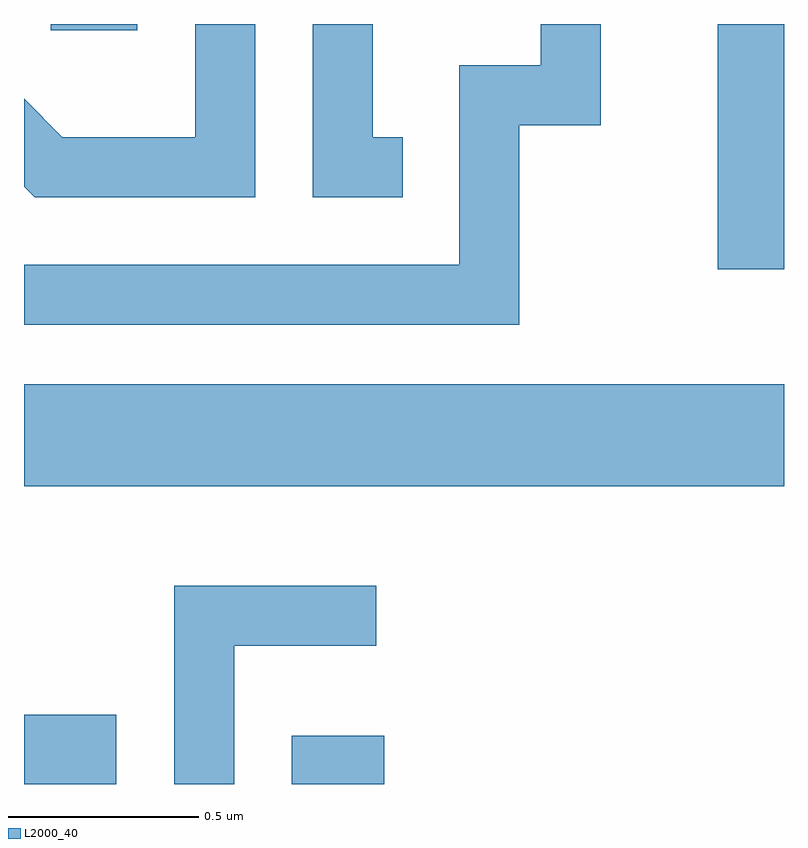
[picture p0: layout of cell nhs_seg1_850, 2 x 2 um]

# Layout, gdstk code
import gdstk
lib = gdstk.Library(unit=1e-6, precision=1e-09)
def R(c, l, rs):  # rectangles x0, y0, x1, y1
    for r in rs: c.add(gdstk.rectangle(r[:2], r[2:], *l))
def P(c, l, *ps):  # polygons
    for p in ps: c.add(gdstk.Polygon(p, *l))
L2000_40 = (2000, 40)

nhs_seg1_850 = lib.new_cell('nhs_seg1_850')
R(nhs_seg1_850, L2000_40, [(191.611,867.712,191.854,867.894), (192.316,867.712,192.559,867.839), (191.611,868.496,193.611,868.764), (193.436,869.066,193.611,869.712), (191.681,869.696,191.909,869.712)])
P(nhs_seg1_850, L2000_40, [(192.608,869.414),(192.529,869.414),(192.529,869.712),(192.371,869.712),(192.371,869.256),(192.608,869.256)],
  [(192.219,869.712),(192.061,869.712),(192.061,869.414),(191.712,869.414),(191.611,869.515),(191.611,869.284),(191.639,869.256),(192.219,869.256)],
  [(192.914,869.446),(193.129,869.446),(193.129,869.712),(192.971,869.712),(192.971,869.604),(192.756,869.604),(192.756,869.079),(191.611,869.079),(191.611,868.921),(192.914,868.921)],
  [(192.164,868.076),(192.538,868.076),(192.538,868.234),(192.006,868.234),(192.006,867.712),(192.164,867.712)])

lib.write_gds('nhs_seg1_850.gds')
